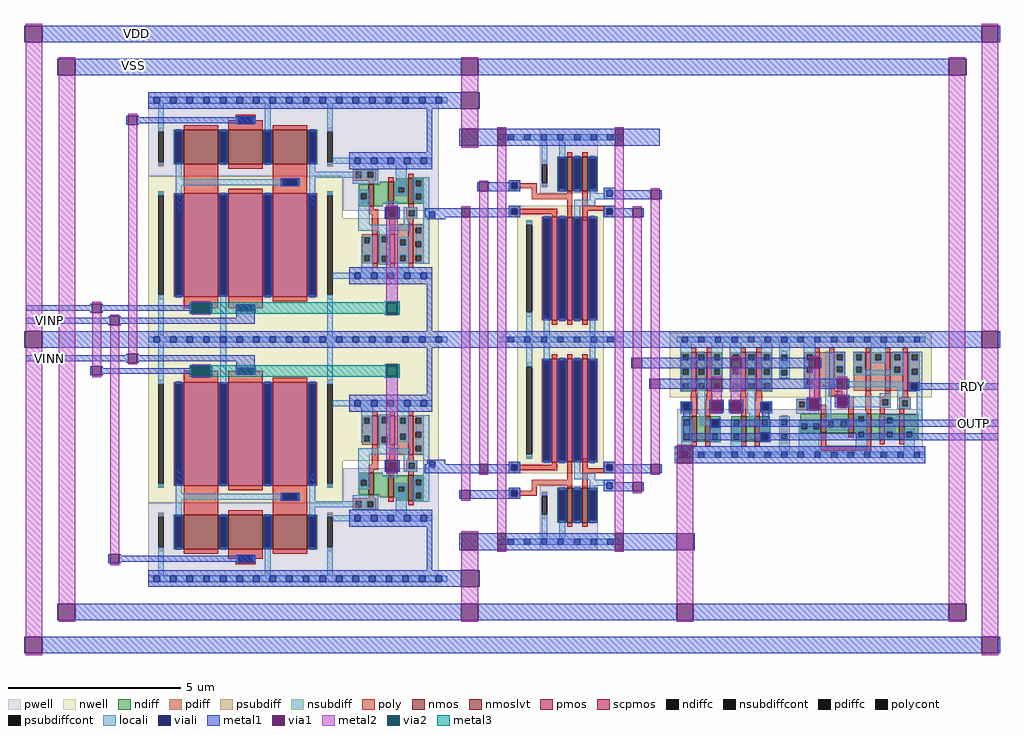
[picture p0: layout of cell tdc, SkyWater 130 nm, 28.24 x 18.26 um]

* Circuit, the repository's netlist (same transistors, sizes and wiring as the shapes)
* NGSPICE file created from tdc.ext - technology: sky130A

.subckt sky130_fd_pr__nfet_01v8_3KLK8B a_n158_n69# a_n100_n124# a_100_n69# VSUBS
X0 a_100_n69# a_n100_n124# a_n158_n69# VSUBS sky130_fd_pr__nfet_01v8 ad=0.29 pd=2.58 as=0.29 ps=2.58 w=1 l=1
.ends

.subckt sky130_fd_pr__pfet_01v8_GLM8QU a_n100_n328# a_100_n264# w_n194_n364# a_n158_n264#
X0 a_100_n264# a_n100_n328# a_n158_n264# w_n194_n364# sky130_fd_pr__pfet_01v8 ad=0.87 pd=6.58 as=0.87 ps=6.58 w=3 l=1
.ends

.subckt sky130_fd_pr__pfet_01v8_JKM84M a_n100_n362# w_n194_n398# a_100_n336# a_n158_n336#
X0 a_100_n336# a_n100_n362# a_n158_n336# w_n194_n398# sky130_fd_pr__pfet_01v8 ad=0.87 pd=6.58 as=0.87 ps=6.58 w=3 l=1
.ends

.subckt sky130_fd_pr__nfet_01v8_WVKZ6V a_100_n100# a_n100_n126# a_n158_n100# VSUBS
X0 a_100_n100# a_n100_n126# a_n158_n100# VSUBS sky130_fd_pr__nfet_01v8 ad=0.29 pd=2.58 as=0.29 ps=2.58 w=1 l=1
.ends

.subckt sky130_fd_sc_hs__and2_1 A B VGND VNB VPB VPWR X
X0 VGND B a_143_136# VNB sky130_fd_pr__nfet_01v8_lvt ad=0.15535 pd=1.17 as=0.1376 ps=1.14 w=0.64 l=0.15
X1 X a_56_136# VGND VNB sky130_fd_pr__nfet_01v8_lvt ad=0.2109 pd=2.05 as=0.15535 ps=1.17 w=0.74 l=0.15
X2 VPWR B a_56_136# VPB sky130_fd_pr__pfet_01v8 ad=0.1988 pd=1.505 as=0.147 ps=1.19 w=0.84 l=0.15
X3 a_143_136# A a_56_136# VNB sky130_fd_pr__nfet_01v8_lvt ad=0.1376 pd=1.14 as=0.1824 ps=1.85 w=0.64 l=0.15
X4 a_56_136# A VPWR VPB sky130_fd_pr__pfet_01v8 ad=0.147 pd=1.19 as=0.252 ps=2.28 w=0.84 l=0.15
X5 X a_56_136# VPWR VPB sky130_fd_pr__pfet_01v8 ad=0.3304 pd=2.83 as=0.1988 ps=1.505 w=1.12 l=0.15
.ends

.subckt delay_gate_ori VDD VSS VINP VINN OUT IN
Xsky130_fd_pr__nfet_01v8_3KLK8B_0 XM5/a_100_n100# VINN VSS VSS sky130_fd_pr__nfet_01v8_3KLK8B
Xsky130_fd_pr__pfet_01v8_GLM8QU_0 a_n155_n58# sky130_fd_sc_hs__and2_1_0/A VDD XM1/a_100_n336#
+ sky130_fd_pr__pfet_01v8_GLM8QU
Xsky130_fd_pr__pfet_01v8_JKM84M_0 IN VDD VDD a_n155_n58# sky130_fd_pr__pfet_01v8_JKM84M
Xsky130_fd_pr__nfet_01v8_WVKZ6V_0 sky130_fd_sc_hs__and2_1_0/A a_n155_n58# VSS VSS
+ sky130_fd_pr__nfet_01v8_WVKZ6V
XXM1 VINP VDD XM1/a_100_n336# VDD sky130_fd_pr__pfet_01v8_JKM84M
XXM5 XM5/a_100_n100# IN a_n155_n58# VSS sky130_fd_pr__nfet_01v8_WVKZ6V
Xsky130_fd_sc_hs__and2_1_0 sky130_fd_sc_hs__and2_1_0/A IN VSS VSS VDD VDD OUT sky130_fd_sc_hs__and2_1
.ends

.subckt sky130_fd_sc_hs__nand2_1 A B VGND VNB VPB VPWR Y
X0 a_117_74# B VGND VNB sky130_fd_pr__nfet_01v8_lvt ad=0.0888 pd=0.98 as=0.2109 ps=2.05 w=0.74 l=0.15
X1 VPWR A Y VPB sky130_fd_pr__pfet_01v8 ad=0.3192 pd=2.81 as=0.168 ps=1.42 w=1.12 l=0.15
X2 Y A a_117_74# VNB sky130_fd_pr__nfet_01v8_lvt ad=0.2109 pd=2.05 as=0.0888 ps=0.98 w=0.74 l=0.15
X3 Y B VPWR VPB sky130_fd_pr__pfet_01v8 ad=0.168 pd=1.42 as=0.3192 ps=2.81 w=1.12 l=0.15
.ends

.subckt sky130_fd_sc_hs__xor2_1 A B VGND VNB VPB VPWR X
X0 X B a_455_87# VNB sky130_fd_pr__nfet_01v8_lvt ad=0.1554 pd=1.16 as=0.0888 ps=0.98 w=0.74 l=0.15
X1 X a_194_125# a_355_368# VPB sky130_fd_pr__pfet_01v8 ad=0.3864 pd=2.93 as=0.196 ps=1.47 w=1.12 l=0.15
X2 a_194_125# B a_158_392# VPB sky130_fd_pr__pfet_01v8 ad=0.295 pd=2.59 as=0.135 ps=1.27 w=1 l=0.15
X3 VPWR A a_355_368# VPB sky130_fd_pr__pfet_01v8 ad=0.2352 pd=1.54 as=0.3752 ps=2.91 w=1.12 l=0.15
X4 a_158_392# A VPWR VPB sky130_fd_pr__pfet_01v8 ad=0.135 pd=1.27 as=0.295 ps=2.59 w=1 l=0.15
X5 a_355_368# B VPWR VPB sky130_fd_pr__pfet_01v8 ad=0.196 pd=1.47 as=0.2352 ps=1.54 w=1.12 l=0.15
X6 a_194_125# A VGND VNB sky130_fd_pr__nfet_01v8_lvt ad=0.17738 pd=1.195 as=0.33275 ps=2.31 w=0.55 l=0.15
X7 a_455_87# A VGND VNB sky130_fd_pr__nfet_01v8_lvt ad=0.0888 pd=0.98 as=0.12607 ps=1.1 w=0.74 l=0.15
X8 VGND B a_194_125# VNB sky130_fd_pr__nfet_01v8_lvt ad=0.12607 pd=1.1 as=0.17738 ps=1.195 w=0.55 l=0.15
X9 VGND a_194_125# X VNB sky130_fd_pr__nfet_01v8_lvt ad=0.2997 pd=2.29 as=0.1554 ps=1.16 w=0.74 l=0.15
.ends

.subckt pd_out A B RDY OUTP OUTN VDD VSS
Xx1 B OUTN VSS VSS VDD VDD OUTP sky130_fd_sc_hs__nand2_1
Xx2 OUTP A VSS VSS VDD VDD OUTN sky130_fd_sc_hs__nand2_1
Xx3 A B VSS VSS VDD VDD RDY sky130_fd_sc_hs__xor2_1
.ends

.subckt sky130_fd_pr__pfet_01v8_5EUKDE a_n73_n300# w_n109_n362# a_15_n300# a_n15_n326#
X0 a_15_n300# a_n15_n326# a_n73_n300# w_n109_n362# sky130_fd_pr__pfet_01v8 ad=0.87 pd=6.58 as=0.87 ps=6.58 w=3 l=0.15
.ends

.subckt sky130_fd_pr__nfet_01v8_QQ7V57 a_n73_n100# a_15_n100# a_n15_n126# VSUBS
X0 a_15_n100# a_n15_n126# a_n73_n100# VSUBS sky130_fd_pr__nfet_01v8 ad=0.29 pd=2.58 as=0.29 ps=2.58 w=1 l=0.15
.ends

.subckt pd_in_half OUT VDD VSS INB IN OUTB
Xsky130_fd_pr__pfet_01v8_5EUKDE_0 OUT VDD VDD OUTB sky130_fd_pr__pfet_01v8_5EUKDE
Xsky130_fd_pr__pfet_01v8_5EUKDE_1 sky130_fd_pr__pfet_01v8_5EUKDE_2/a_15_n300# VDD
+ OUT IN sky130_fd_pr__pfet_01v8_5EUKDE
Xsky130_fd_pr__pfet_01v8_5EUKDE_2 VDD VDD sky130_fd_pr__pfet_01v8_5EUKDE_2/a_15_n300#
+ INB sky130_fd_pr__pfet_01v8_5EUKDE
Xsky130_fd_pr__nfet_01v8_QQ7V57_0 VSS sky130_fd_pr__nfet_01v8_QQ7V57_0/a_15_n100#
+ IN VSS sky130_fd_pr__nfet_01v8_QQ7V57
Xsky130_fd_pr__nfet_01v8_QQ7V57_1 sky130_fd_pr__nfet_01v8_QQ7V57_0/a_15_n100# OUT
+ OUTB VSS sky130_fd_pr__nfet_01v8_QQ7V57
.ends

.subckt pd_in INP INN VDD A B VSS
Xpd_in_half_0 B VDD VSS INP INN A pd_in_half
Xpd_in_half_1 A VDD VSS INN INP B pd_in_half
.ends

.subckt phase_detector INP INN RDY OUTP OUTN VDD VSS
Xpd_out_0 pd_in_0/A pd_in_0/B RDY OUTP OUTN VDD VSS pd_out
Xpd_in_0 INP INN VDD pd_in_0/A pd_in_0/B VSS pd_in
.ends

.subckt tdc VDD VSS VINP VINN RDY OUTP OUTN CLK
Xdelay_gate_ori_0 VDD VSS VINP VINN phase_detector_0/INP CLK delay_gate_ori
Xdelay_gate_ori_1 VDD VSS VINN VINP phase_detector_0/INN CLK delay_gate_ori
Xphase_detector_0 phase_detector_0/INP phase_detector_0/INN RDY OUTP OUTN VDD VSS
+ phase_detector
.ends

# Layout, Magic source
magic
tech sky130A
magscale 1 2
<< metal1 >>
rect -224 2900 -214 2996
rect -118 2900 5318 2996
rect 5414 2900 5424 2996
rect -32 2708 -22 2804
rect 74 2708 2306 2804
rect 2404 2708 5126 2804
rect 5222 2708 5232 2804
rect 2195 2516 2306 2612
rect 2404 2516 2414 2612
rect 368 2423 378 2475
rect 430 2466 440 2475
rect 430 2432 609 2466
rect 430 2423 440 2432
rect 2296 2301 2306 2399
rect 2404 2301 2414 2399
rect 2095 1888 2410 1940
rect 160 1379 170 1388
rect -214 1345 170 1379
rect 160 1336 170 1345
rect 222 1379 232 1388
rect 222 1345 613 1379
rect 222 1336 232 1345
rect 264 1305 274 1314
rect -214 1271 274 1305
rect 264 1262 274 1271
rect 326 1305 336 1314
rect 326 1271 636 1305
rect 326 1262 336 1271
rect -224 1132 -214 1228
rect -118 1132 496 1228
rect 2210 1132 2306 1228
rect 4990 1132 5318 1228
rect 5414 1132 5424 1228
rect 368 1089 378 1098
rect -214 1055 378 1089
rect 368 1046 378 1055
rect 430 1089 440 1098
rect 430 1055 671 1089
rect 430 1046 440 1055
rect 160 972 170 1024
rect 222 1015 232 1024
rect 222 981 624 1015
rect 222 972 232 981
rect 4983 888 5414 928
rect 4984 676 5414 716
rect 4990 597 5414 637
rect 2095 406 2519 458
rect 2296 -39 2306 59
rect 2404 -39 2414 59
rect 264 -115 274 -63
rect 326 -72 336 -63
rect 326 -106 637 -72
rect 326 -115 336 -106
rect 2204 -252 2306 -156
rect 2404 -252 2414 -156
rect -32 -444 -22 -348
rect 74 -444 2306 -348
rect 2404 -444 3552 -348
rect 3648 -444 5126 -348
rect 5222 -444 5232 -348
rect -224 -636 -214 -540
rect -118 -636 5318 -540
rect 5414 -636 5424 -540
<< via1 >>
rect -214 2900 -118 2996
rect 5318 2900 5414 2996
rect -22 2708 74 2804
rect 2306 2708 2404 2804
rect 5126 2708 5222 2804
rect 2306 2516 2404 2612
rect 378 2423 430 2475
rect 2306 2301 2404 2399
rect 170 1336 222 1388
rect 274 1262 326 1314
rect -214 1132 -118 1228
rect 5318 1132 5414 1228
rect 378 1046 430 1098
rect 170 972 222 1024
rect 2306 -39 2404 59
rect 274 -115 326 -63
rect 2306 -252 2404 -156
rect -22 -444 74 -348
rect 2306 -444 2404 -348
rect 3552 -444 3648 -348
rect 5126 -444 5222 -348
rect -214 -636 -118 -540
rect 5318 -636 5414 -540
<< metal2 >>
rect -214 2996 -118 3006
rect -214 1228 -118 2900
rect 5318 2996 5414 3006
rect -214 -540 -118 1132
rect -22 2804 74 2814
rect -22 -348 74 2708
rect 2306 2804 2404 2814
rect 2306 2612 2404 2708
rect 378 2475 430 2485
rect 170 1388 222 1398
rect 170 1024 222 1336
rect 170 962 222 972
rect 274 1314 326 1324
rect 274 -63 326 1262
rect 378 1098 430 2423
rect 2306 2399 2404 2516
rect 2306 2291 2404 2301
rect 5126 2804 5222 2814
rect 378 1036 430 1046
rect 274 -125 326 -115
rect 2306 59 2404 69
rect -22 -454 74 -444
rect 2306 -156 2404 -39
rect 2306 -348 2404 -252
rect 2306 -454 2404 -444
rect 3552 -348 3648 210
rect 3552 -454 3648 -444
rect 5126 -348 5222 2708
rect 5126 -454 5222 -444
rect 5318 1228 5414 2900
rect -214 -646 -118 -636
rect 5318 -540 5414 1132
rect 5318 -646 5414 -636
use delay_gate_ori  delay_gate_ori_0
transform 1 0 1371 0 -1 2130
box -875 -482 853 998
use delay_gate_ori  delay_gate_ori_1
transform 1 0 1371 0 1 230
box -875 -482 853 998
use phase_detector  phase_detector_0
transform 1 0 2324 0 1 -47
box -28 -2 2706 2456
<< labels >>
flabel metal1 412 2934 442 2964 0 FreeSans 400 0 0 0 VDD
port 0 nsew
flabel metal1 392 2748 422 2778 0 FreeSans 400 0 0 0 VSS
port 1 nsew
flabel metal1 -93 1271 -59 1305 0 FreeSans 400 0 0 0 VINP
port 3 nsew
flabel metal1 -92 1055 -58 1089 0 FreeSans 400 0 0 0 VINN
port 4 nsew
flabel metal1 5245 888 5285 928 0 FreeSans 400 0 0 0 RDY
port 5 nsew
flabel metal1 5253 676 5293 716 0 FreeSans 400 0 0 0 OUTP
port 6 nsew
flabel metal1 5249 597 5289 637 0 FreeSans 400 0 0 0 OUTN
port 8 nsew
flabel metal1 -103 1345 -69 1379 0 FreeSans 400 0 0 0 CLK
port 10 nsew
<< end >>

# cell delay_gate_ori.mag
magic
tech sky130A
magscale 1 2
<< nwell >>
rect -875 248 805 998
rect -875 4 249 248
<< pwell >>
rect 249 4 805 206
rect -875 -417 805 4
rect -875 -482 805 -451
<< psubdiff >>
rect -819 -76 -785 -52
rect -819 -276 -785 -252
rect 159 -76 193 -52
rect 159 -276 193 -252
<< nsubdiff >>
rect -819 692 -785 716
rect -819 92 -785 116
rect 159 692 193 716
rect 159 92 193 116
<< psubdiffcont >>
rect -819 -252 -785 -76
rect 159 -252 193 -76
<< nsubdiffcont >>
rect -819 116 -785 692
rect 159 116 193 692
<< poly >>
rect -671 -62 -471 98
rect -155 -58 45 102
<< locali >>
rect -875 933 -844 967
rect -810 933 -748 967
rect -714 933 -652 967
rect -618 933 -556 967
rect -522 933 -460 967
rect -426 933 -364 967
rect -330 933 -268 967
rect -234 933 -172 967
rect -138 933 -76 967
rect -42 933 20 967
rect 54 933 116 967
rect 150 933 212 967
rect 246 933 308 967
rect 342 933 404 967
rect 438 933 500 967
rect 534 933 596 967
rect 630 933 692 967
rect 726 933 788 967
rect 822 933 853 967
rect -819 692 -785 933
rect -459 704 -425 933
rect 159 692 193 933
rect -819 100 -785 116
rect -717 57 -683 207
rect -717 23 -77 57
rect -819 -76 -785 -60
rect -717 -64 -683 23
rect 57 14 91 172
rect 193 565 482 599
rect 159 100 193 116
rect 57 -20 367 14
rect 57 -68 91 -20
rect 159 -67 193 -60
rect -819 -417 -785 -252
rect 159 -76 386 -67
rect 193 -101 386 -76
rect -201 -417 -167 -266
rect 159 -417 193 -252
rect -875 -451 -844 -417
rect -810 -451 -748 -417
rect -714 -451 -652 -417
rect -618 -451 -556 -417
rect -522 -451 -460 -417
rect -426 -451 -364 -417
rect -330 -451 -268 -417
rect -234 -451 -172 -417
rect -138 -451 -76 -417
rect -42 -451 20 -417
rect 54 -451 116 -417
rect 150 -451 212 -417
rect 246 -451 308 -417
rect 342 -451 404 -417
rect 438 -451 500 -417
rect 534 -451 596 -417
rect 630 -451 692 -417
rect 726 -451 788 -417
rect 822 -451 853 -417
<< viali >>
rect -844 933 -810 967
rect -748 933 -714 967
rect -652 933 -618 967
rect -556 933 -522 967
rect -460 933 -426 967
rect -364 933 -330 967
rect -268 933 -234 967
rect -172 933 -138 967
rect -76 933 -42 967
rect 20 933 54 967
rect 116 933 150 967
rect 212 933 246 967
rect 308 933 342 967
rect 404 933 438 967
rect 500 933 534 967
rect 596 933 630 967
rect 692 933 726 967
rect 788 933 822 967
rect 518 202 552 236
rect 750 210 784 244
rect -844 -451 -810 -417
rect -748 -451 -714 -417
rect -652 -451 -618 -417
rect -556 -451 -522 -417
rect -460 -451 -426 -417
rect -364 -451 -330 -417
rect -268 -451 -234 -417
rect -172 -451 -138 -417
rect -76 -451 -42 -417
rect 20 -451 54 -417
rect 116 -451 150 -417
rect 212 -451 246 -417
rect 308 -451 342 -417
rect 404 -451 438 -417
rect 500 -451 534 -417
rect 596 -451 630 -417
rect 692 -451 726 -417
rect 788 -451 822 -417
<< metal1 >>
rect -875 967 853 998
rect -875 933 -844 967
rect -810 933 -748 967
rect -714 933 -652 967
rect -618 933 -556 967
rect -522 933 -460 967
rect -426 933 -364 967
rect -330 933 -268 967
rect -234 933 -172 967
rect -138 933 -76 967
rect -42 933 20 967
rect 54 933 116 967
rect 150 933 212 967
rect 246 933 308 967
rect 342 933 404 967
rect 438 933 500 967
rect 534 933 596 967
rect 630 933 692 967
rect 726 933 788 967
rect 822 933 853 967
rect -875 902 853 933
rect -875 825 -259 859
rect -635 785 -625 794
rect -875 751 -625 785
rect -635 742 -625 751
rect -517 742 -507 794
rect -367 791 -259 825
rect 736 569 767 902
rect 492 186 502 252
rect 568 186 578 252
rect 738 244 842 253
rect 738 210 750 244
rect 784 210 842 244
rect 738 201 842 210
rect -875 -336 -259 -302
rect 735 -386 767 -101
rect -875 -417 853 -386
rect -875 -451 -844 -417
rect -810 -451 -748 -417
rect -714 -451 -652 -417
rect -618 -451 -556 -417
rect -522 -451 -460 -417
rect -426 -451 -364 -417
rect -330 -451 -268 -417
rect -234 -451 -172 -417
rect -138 -451 -76 -417
rect -42 -451 20 -417
rect 54 -451 116 -417
rect 150 -451 212 -417
rect 246 -451 308 -417
rect 342 -451 404 -417
rect 438 -451 500 -417
rect 534 -451 596 -417
rect 630 -451 692 -417
rect 726 -451 788 -417
rect 822 -451 853 -417
rect -875 -482 853 -451
<< via1 >>
rect -625 742 -517 794
rect 502 236 568 252
rect 502 202 518 236
rect 518 202 552 236
rect 552 202 568 236
rect 502 186 568 202
<< metal2 >>
rect -625 796 -517 806
rect -625 730 -517 740
rect 502 801 568 811
rect 502 252 568 735
rect 502 176 568 186
<< via2 >>
rect -625 794 -517 796
rect -625 742 -517 794
rect -625 740 -517 742
rect 502 735 568 801
<< metal3 >>
rect 492 801 578 806
rect -635 796 502 801
rect -635 740 -625 796
rect -517 740 502 796
rect -635 735 502 740
rect 568 735 578 801
rect 492 730 578 735
use sky130_fd_pr__nfet_01v8_3KLK8B  sky130_fd_pr__nfet_01v8_3KLK8B_0
transform 1 0 -313 0 1 -195
box -158 -157 158 157
use sky130_fd_pr__nfet_01v8_WVKZ6V  sky130_fd_pr__nfet_01v8_WVKZ6V_0
transform 1 0 -55 0 1 -164
box -158 -126 158 126
use sky130_fd_pr__pfet_01v8_GLM8QU  sky130_fd_pr__pfet_01v8_GLM8QU_0
transform 1 0 -55 0 1 368
box -194 -364 194 398
use sky130_fd_pr__pfet_01v8_JKM84M  sky130_fd_pr__pfet_01v8_JKM84M_0
transform 1 0 -571 0 1 440
box -194 -398 194 364
use sky130_fd_sc_hs__and2_1  sky130_fd_sc_hs__and2_1_0 $PDKPATH/libs.ref/sky130_fd_sc_hs/mag
transform 1 0 287 0 1 -84
box -38 -49 518 715
use sky130_fd_pr__pfet_01v8_JKM84M  XM1
transform 1 0 -313 0 1 440
box -194 -398 194 364
use sky130_fd_pr__nfet_01v8_WVKZ6V  XM5
transform 1 0 -571 0 1 -164
box -158 -126 158 126
<< labels >>
flabel nwell -813 930 -783 960 0 FreeSans 400 0 0 0 VDD
port 0 nsew
flabel metal1 -831 -452 -801 -422 0 FreeSans 400 0 0 0 VSS
port 1 nsew
flabel metal1 -875 825 -841 859 0 FreeSans 400 0 0 0 VINP
port 2 nsew
flabel metal1 -875 -336 -841 -302 0 FreeSans 400 0 0 0 VINN
port 3 nsew
flabel metal1 784 201 842 253 0 FreeSans 400 0 0 0 OUT
port 5 nsew
flabel metal1 -875 751 -841 785 0 FreeSans 400 0 0 0 IN
port 7 nsew
<< end >>

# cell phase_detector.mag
magic
tech sky130A
magscale 1 2
<< metal1 >>
rect -18 1178 2668 1276
rect 966 1061 976 1121
rect 1028 1061 1260 1121
rect 1070 941 1080 1001
rect 1132 941 1264 1001
rect 2623 935 2706 975
rect 1471 723 2706 763
rect 1759 644 2706 684
rect 1218 512 1228 608
rect 1324 512 1334 608
rect -18 8 1228 106
rect 1324 8 1334 106
<< via1 >>
rect 976 1061 1028 1121
rect 1080 941 1132 1001
rect 1228 512 1324 608
rect 1228 8 1324 106
<< metal2 >>
rect -18 356 34 1935
rect 86 505 138 2084
rect 976 1121 1028 1131
rect 976 1051 1028 1061
rect 1080 1001 1132 1011
rect 1080 931 1132 941
rect 1228 608 1324 618
rect 1228 106 1324 512
rect 1228 -2 1324 8
use pd_in  pd_in_0
transform 1 0 590 0 1 1212
box -618 -1214 552 1244
use pd_out  pd_out_0
transform 1 0 1190 0 1 610
box 0 -98 1516 666
<< labels >>
flabel metal1 401 1208 431 1238 0 FreeSans 400 0 0 0 VDD
port 0 nsew
flabel metal1 392 43 422 73 0 FreeSans 400 0 0 0 VSS
port 1 nsew
flabel metal2 -5 829 25 859 0 FreeSans 400 0 0 0 INP
port 2 nsew
flabel metal2 100 829 130 859 0 FreeSans 400 0 0 0 INN
port 3 nsew
flabel metal1 2672 941 2702 971 0 FreeSans 400 0 0 0 RDY
port 4 nsew
flabel metal1 2669 730 2699 760 0 FreeSans 400 0 0 0 OUTP
port 5 nsew
flabel metal1 2670 648 2700 678 0 FreeSans 400 0 0 0 OUTN
port 6 nsew
<< end >>

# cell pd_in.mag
magic
tech sky130A
magscale 1 2
<< metal1 >>
rect -608 1136 -400 1234
rect -348 1136 282 1234
rect 334 1136 542 1234
rect -514 872 -504 924
rect -452 872 -317 924
rect 283 828 490 880
rect 542 828 552 880
rect -618 723 -608 775
rect -556 723 -317 775
rect 283 723 386 775
rect 438 723 448 775
rect -608 -34 542 64
rect -514 -759 -504 -707
rect -452 -759 -317 -707
rect 283 -759 490 -707
rect 542 -759 552 -707
rect -618 -908 -608 -856
rect -556 -908 -318 -856
rect 283 -864 386 -812
rect 438 -864 448 -812
rect -608 -1204 -400 -1106
rect -348 -1204 282 -1106
rect 334 -1204 542 -1106
<< via1 >>
rect -400 1136 -348 1234
rect 282 1136 334 1234
rect -504 872 -452 924
rect 490 828 542 880
rect -608 723 -556 775
rect 386 723 438 775
rect -504 -759 -452 -707
rect 490 -759 542 -707
rect -608 -908 -556 -856
rect 386 -864 438 -812
rect -400 -1204 -348 -1106
rect 282 -1204 334 -1106
<< metal2 >>
rect -400 1234 -348 1244
rect -504 924 -452 934
rect -608 775 -556 785
rect -608 -856 -556 723
rect -504 -707 -452 872
rect -504 -769 -452 -759
rect -608 -918 -556 -908
rect -400 -1106 -348 1136
rect -400 -1214 -348 -1204
rect 282 1234 334 1244
rect 282 -1106 334 1136
rect 490 880 542 890
rect 386 775 438 785
rect 386 -812 438 723
rect 490 -707 542 828
rect 490 -769 542 -759
rect 386 -874 438 -864
rect 282 -1214 334 -1204
use pd_in_half  pd_in_half_0
transform 1 0 -496 0 -1 793
box 96 -441 830 827
use pd_in_half  pd_in_half_1
transform 1 0 -496 0 1 -763
box 96 -441 830 827
<< labels >>
flabel metal2 -596 -434 -566 -404 0 FreeSans 400 0 0 0 INP
port 0 nsew
flabel metal2 -492 -509 -462 -479 0 FreeSans 400 0 0 0 INN
port 1 nsew
flabel metal1 -2 0 28 30 0 FreeSans 400 0 0 0 VDD
port 2 nsew
flabel metal1 -30 -1169 0 -1139 0 FreeSans 400 0 0 0 VSS
port 3 nsew
flabel metal2 395 409 425 439 0 FreeSans 400 0 0 0 A
port 4 nsew
flabel metal2 498 410 528 440 0 FreeSans 400 0 0 0 B
port 5 nsew
<< end >>

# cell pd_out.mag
magic
tech sky130A
magscale 1 2
<< pwell >>
rect 42 -49 1464 212
<< viali >>
rect 1393 325 1433 365
rect 77 208 117 248
rect 239 201 299 261
rect 353 201 413 261
rect 535 208 575 248
rect 805 214 865 274
rect 967 230 1027 290
rect 241 113 281 153
rect 529 34 569 74
<< metal1 >>
rect 38 568 1478 666
rect 0 451 353 511
rect 413 451 805 511
rect 865 451 875 511
rect 0 331 239 391
rect 299 331 967 391
rect 1027 331 1037 391
rect 1381 365 1445 371
rect 1381 325 1393 365
rect 1433 325 1516 365
rect 1381 319 1445 325
rect 955 290 1039 296
rect 793 274 877 280
rect 227 261 311 267
rect 65 248 129 254
rect 65 208 77 248
rect 117 208 129 248
rect 65 202 129 208
rect 77 74 117 202
rect 227 201 239 261
rect 299 201 311 261
rect 227 195 311 201
rect 341 261 425 267
rect 341 201 353 261
rect 413 201 425 261
rect 523 248 587 254
rect 523 208 535 248
rect 575 208 587 248
rect 793 214 805 274
rect 865 214 877 274
rect 955 230 967 290
rect 1027 230 1039 290
rect 955 224 1039 230
rect 793 208 877 214
rect 523 202 587 208
rect 341 195 425 201
rect 229 153 293 159
rect 535 153 575 202
rect 229 113 241 153
rect 281 113 1516 153
rect 229 107 293 113
rect 517 74 581 80
rect 77 34 529 74
rect 569 34 1516 74
rect 517 28 581 34
rect 38 -98 1478 0
<< via1 >>
rect 353 451 413 511
rect 805 451 865 511
rect 239 331 299 391
rect 967 331 1027 391
rect 239 201 299 261
rect 353 201 413 261
rect 805 214 865 274
rect 967 230 1027 290
<< metal2 >>
rect 353 511 413 521
rect 239 391 299 401
rect 239 261 299 331
rect 239 191 299 201
rect 353 261 413 451
rect 805 511 865 521
rect 805 274 865 451
rect 967 391 1027 401
rect 967 290 1027 331
rect 967 220 1027 230
rect 805 204 865 214
rect 353 191 413 201
use sky130_fd_sc_hs__tapvpwrvgnd_1  sky130_fd_sc_hs__tapvpwrvgnd_1_0 $PDKPATH/libs.ref/sky130_fd_sc_hs/mag
transform 1 0 614 0 1 -49
box -38 -49 134 715
use sky130_fd_sc_hs__nand2_1  x1 $PDKPATH/libs.ref/sky130_fd_sc_hs/mag
transform 1 0 38 0 1 -49
box -38 -49 326 715
use sky130_fd_sc_hs__nand2_1  x2
transform 1 0 326 0 1 -49
box -38 -49 326 715
use sky130_fd_sc_hs__xor2_1  x3 $PDKPATH/libs.ref/sky130_fd_sc_hs/mag
transform 1 0 710 0 1 -49
box -38 -49 806 715
<< labels >>
flabel metal1 0 451 30 511 0 FreeSans 400 0 0 0 A
port 0 nsew
flabel metal1 0 331 30 391 0 FreeSans 400 0 0 0 B
port 1 nsew
flabel metal1 91 568 189 666 0 FreeSans 400 0 0 0 VDD
port 2 nsew
flabel metal1 95 -98 193 0 0 FreeSans 400 0 0 0 VSS
port 3 nsew
flabel metal1 1496 325 1516 365 0 FreeSans 400 0 0 0 RDY
port 4 nsew
flabel metal1 1476 113 1516 153 0 FreeSans 400 0 0 0 OUTP
port 5 nsew
flabel metal1 1476 34 1516 74 0 FreeSans 400 0 0 0 OUTN
port 7 nsew
<< end >>

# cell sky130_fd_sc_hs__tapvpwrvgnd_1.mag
magic
tech sky130A
magscale 1 2
<< nwell >>
rect -38 332 134 704
<< pwell >>
rect 5 38 91 255
<< psubdiff >>
rect 31 205 65 229
rect 31 122 65 171
rect 31 64 65 88
<< nsubdiff >>
rect 31 578 65 602
rect 31 492 65 544
rect 31 434 65 458
<< psubdiffcont >>
rect 31 171 65 205
rect 31 88 65 122
<< nsubdiffcont >>
rect 31 544 65 578
rect 31 458 65 492
<< locali >>
rect 0 649 31 683
rect 65 649 96 683
rect 18 578 78 649
rect 18 544 31 578
rect 65 544 78 578
rect 18 492 78 544
rect 18 458 31 492
rect 65 458 78 492
rect 18 441 78 458
rect 18 205 78 221
rect 18 171 31 205
rect 65 171 78 205
rect 18 122 78 171
rect 18 88 31 122
rect 65 88 78 122
rect 18 17 78 88
rect 0 -17 31 17
rect 65 -17 96 17
<< viali >>
rect 31 649 65 683
rect 31 -17 65 17
<< metal1 >>
rect 0 683 96 715
rect 0 649 31 683
rect 65 649 96 683
rect 0 617 96 649
rect 0 17 96 49
rect 0 -17 31 17
rect 65 -17 96 17
rect 0 -49 96 -17
<< labels >>
rlabel comment s 0 0 0 0 4 tapvpwrvgnd_1
flabel metal1 s 0 617 96 666 0 FreeSans 200 0 0 0 VPWR
port 1 nsew
flabel metal1 s 0 0 96 49 0 FreeSans 200 0 0 0 VGND
port 2 nsew
<< properties >>
string FIXED_BBOX 0 0 96 666
<< end >>

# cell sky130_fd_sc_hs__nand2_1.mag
magic
tech sky130A
magscale 1 2
<< nwell >>
rect -38 332 326 704
<< pwell >>
rect 4 49 278 248
rect 0 0 288 49
<< scpmos >>
rect 84 368 114 592
rect 174 368 204 592
<< nmoslvt >>
rect 87 74 117 222
rect 165 74 195 222
<< ndiff >>
rect 30 202 87 222
rect 30 168 42 202
rect 76 168 87 202
rect 30 120 87 168
rect 30 86 42 120
rect 76 86 87 120
rect 30 74 87 86
rect 117 74 165 222
rect 195 202 252 222
rect 195 168 206 202
rect 240 168 252 202
rect 195 120 252 168
rect 195 86 206 120
rect 240 86 252 120
rect 195 74 252 86
<< pdiff >>
rect 27 580 84 592
rect 27 546 37 580
rect 71 546 84 580
rect 27 497 84 546
rect 27 463 37 497
rect 71 463 84 497
rect 27 414 84 463
rect 27 380 37 414
rect 71 380 84 414
rect 27 368 84 380
rect 114 580 174 592
rect 114 546 127 580
rect 161 546 174 580
rect 114 497 174 546
rect 114 463 127 497
rect 161 463 174 497
rect 114 414 174 463
rect 114 380 127 414
rect 161 380 174 414
rect 114 368 174 380
rect 204 580 261 592
rect 204 546 217 580
rect 251 546 261 580
rect 204 497 261 546
rect 204 463 217 497
rect 251 463 261 497
rect 204 414 261 463
rect 204 380 217 414
rect 251 380 261 414
rect 204 368 261 380
<< ndiffc >>
rect 42 168 76 202
rect 42 86 76 120
rect 206 168 240 202
rect 206 86 240 120
<< pdiffc >>
rect 37 546 71 580
rect 37 463 71 497
rect 37 380 71 414
rect 127 546 161 580
rect 127 463 161 497
rect 127 380 161 414
rect 217 546 251 580
rect 217 463 251 497
rect 217 380 251 414
<< poly >>
rect 84 592 114 618
rect 174 592 204 618
rect 84 353 114 368
rect 174 353 204 368
rect 81 310 117 353
rect 171 310 207 353
rect 21 294 117 310
rect 21 260 37 294
rect 71 260 117 294
rect 21 244 117 260
rect 87 222 117 244
rect 165 294 267 310
rect 165 260 217 294
rect 251 260 267 294
rect 165 244 267 260
rect 165 222 195 244
rect 87 48 117 74
rect 165 48 195 74
<< polycont >>
rect 37 260 71 294
rect 217 260 251 294
<< locali >>
rect 0 649 31 683
rect 65 649 127 683
rect 161 649 223 683
rect 257 649 288 683
rect 21 580 87 649
rect 21 546 37 580
rect 71 546 87 580
rect 21 497 87 546
rect 21 463 37 497
rect 71 463 87 497
rect 21 414 87 463
rect 21 380 37 414
rect 71 380 87 414
rect 21 364 87 380
rect 121 580 167 596
rect 121 546 127 580
rect 161 546 167 580
rect 121 497 167 546
rect 121 463 127 497
rect 161 463 167 497
rect 121 414 167 463
rect 121 380 127 414
rect 161 380 167 414
rect 21 294 87 310
rect 21 260 37 294
rect 71 260 87 294
rect 21 236 87 260
rect 121 236 167 380
rect 201 580 267 649
rect 201 546 217 580
rect 251 546 267 580
rect 201 497 267 546
rect 201 463 217 497
rect 251 463 267 497
rect 201 414 267 463
rect 201 380 217 414
rect 251 380 267 414
rect 201 364 267 380
rect 201 294 267 310
rect 201 260 217 294
rect 251 260 267 294
rect 201 236 267 260
rect 133 202 167 236
rect 26 168 42 202
rect 76 168 92 202
rect 133 168 206 202
rect 240 168 256 202
rect 26 120 92 168
rect 26 86 42 120
rect 76 86 92 120
rect 26 17 92 86
rect 190 120 256 168
rect 190 86 206 120
rect 240 86 256 120
rect 190 70 256 86
rect 0 -17 31 17
rect 65 -17 127 17
rect 161 -17 223 17
rect 257 -17 288 17
<< viali >>
rect 31 649 65 683
rect 127 649 161 683
rect 223 649 257 683
rect 31 -17 65 17
rect 127 -17 161 17
rect 223 -17 257 17
<< metal1 >>
rect 0 683 288 715
rect 0 649 31 683
rect 65 649 127 683
rect 161 649 223 683
rect 257 649 288 683
rect 0 617 288 649
rect 0 17 288 49
rect 0 -17 31 17
rect 65 -17 127 17
rect 161 -17 223 17
rect 257 -17 288 17
rect 0 -49 288 -17
<< labels >>
rlabel comment s 0 0 0 0 4 nand2_1
flabel pwell s 0 0 288 49 0 FreeSans 200 0 0 0 VNB
port 1 nsew
flabel nwell s 0 617 288 666 0 FreeSans 200 0 0 0 VPB
port 2 nsew
flabel metal1 s 0 617 288 666 0 FreeSans 340 0 0 0 VPWR
port 3 nsew
flabel metal1 s 0 0 288 49 0 FreeSans 340 0 0 0 VGND
port 4 nsew
flabel locali s 31 242 65 276 0 FreeSans 340 0 0 0 B
port 6 nsew
flabel locali s 127 242 161 276 0 FreeSans 340 0 0 0 Y
port 7 nsew
flabel locali s 127 316 161 350 0 FreeSans 340 0 0 0 Y
port 7 nsew
flabel locali s 127 390 161 424 0 FreeSans 340 0 0 0 Y
port 7 nsew
flabel locali s 127 464 161 498 0 FreeSans 340 0 0 0 Y
port 7 nsew
flabel locali s 127 538 161 572 0 FreeSans 340 0 0 0 Y
port 7 nsew
flabel locali s 223 242 257 276 0 FreeSans 340 0 0 0 A
port 8 nsew
<< properties >>
string FIXED_BBOX 0 0 288 666
<< end >>

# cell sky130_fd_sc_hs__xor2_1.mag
magic
tech sky130A
magscale 1 2
<< nwell >>
rect -38 332 806 704
<< pwell >>
rect 17 49 754 261
rect 0 0 768 49
<< scpmos >>
rect 128 392 158 592
rect 212 392 242 592
rect 422 368 452 592
rect 536 368 566 592
rect 636 368 666 592
<< nmoslvt >>
rect 164 125 194 235
rect 323 125 353 235
rect 425 87 455 235
rect 503 87 533 235
rect 617 87 647 235
<< ndiff >>
rect 43 182 164 235
rect 43 148 51 182
rect 85 148 119 182
rect 153 148 164 182
rect 43 125 164 148
rect 194 192 323 235
rect 194 158 205 192
rect 239 158 278 192
rect 312 158 323 192
rect 194 125 323 158
rect 353 223 425 235
rect 353 189 380 223
rect 414 189 425 223
rect 353 133 425 189
rect 353 125 380 133
rect 368 99 380 125
rect 414 99 425 133
rect 368 87 425 99
rect 455 87 503 235
rect 533 214 617 235
rect 533 180 544 214
rect 578 180 617 214
rect 533 133 617 180
rect 533 99 544 133
rect 578 99 617 133
rect 533 87 617 99
rect 647 133 728 235
rect 647 99 658 133
rect 692 99 728 133
rect 647 87 728 99
<< pdiff >>
rect 69 580 128 592
rect 69 546 81 580
rect 115 546 128 580
rect 69 509 128 546
rect 69 475 81 509
rect 115 475 128 509
rect 69 438 128 475
rect 69 404 81 438
rect 115 404 128 438
rect 69 392 128 404
rect 158 392 212 592
rect 242 580 301 592
rect 242 546 255 580
rect 289 546 301 580
rect 242 510 301 546
rect 242 476 255 510
rect 289 476 301 510
rect 242 440 301 476
rect 242 406 255 440
rect 289 406 301 440
rect 242 392 301 406
rect 355 580 422 592
rect 355 546 367 580
rect 401 546 422 580
rect 355 508 422 546
rect 355 474 367 508
rect 401 474 422 508
rect 355 368 422 474
rect 452 580 536 592
rect 452 546 478 580
rect 512 546 536 580
rect 452 368 536 546
rect 566 580 636 592
rect 566 546 589 580
rect 623 546 636 580
rect 566 508 636 546
rect 566 474 589 508
rect 623 474 636 508
rect 566 368 636 474
rect 666 580 735 592
rect 666 546 689 580
rect 723 546 735 580
rect 666 497 735 546
rect 666 463 689 497
rect 723 463 735 497
rect 666 414 735 463
rect 666 380 689 414
rect 723 380 735 414
rect 666 368 735 380
<< ndiffc >>
rect 51 148 85 182
rect 119 148 153 182
rect 205 158 239 192
rect 278 158 312 192
rect 380 189 414 223
rect 380 99 414 133
rect 544 180 578 214
rect 544 99 578 133
rect 658 99 692 133
<< pdiffc >>
rect 81 546 115 580
rect 81 475 115 509
rect 81 404 115 438
rect 255 546 289 580
rect 255 476 289 510
rect 255 406 289 440
rect 367 546 401 580
rect 367 474 401 508
rect 478 546 512 580
rect 589 546 623 580
rect 589 474 623 508
rect 689 546 723 580
rect 689 463 723 497
rect 689 380 723 414
<< poly >>
rect 128 592 158 618
rect 212 592 242 618
rect 422 592 452 618
rect 536 592 566 618
rect 636 592 666 618
rect 128 377 158 392
rect 212 377 242 392
rect 125 335 161 377
rect 209 369 245 377
rect 209 339 287 369
rect 422 353 452 368
rect 536 353 566 368
rect 636 353 666 368
rect 125 323 155 335
rect 21 307 155 323
rect 21 273 37 307
rect 71 273 105 307
rect 139 287 155 307
rect 257 323 353 339
rect 257 289 273 323
rect 307 289 353 323
rect 139 273 194 287
rect 257 273 353 289
rect 21 257 194 273
rect 164 235 194 257
rect 323 235 353 273
rect 419 250 455 353
rect 533 336 569 353
rect 425 235 455 250
rect 503 320 569 336
rect 633 330 669 353
rect 503 286 519 320
rect 553 286 569 320
rect 503 270 569 286
rect 617 314 683 330
rect 617 280 633 314
rect 667 280 683 314
rect 503 235 533 270
rect 617 264 683 280
rect 617 235 647 264
rect 164 51 194 125
rect 323 99 353 125
rect 425 51 455 87
rect 503 61 533 87
rect 617 61 647 87
rect 164 21 455 51
<< polycont >>
rect 37 273 71 307
rect 105 273 139 307
rect 273 289 307 323
rect 519 286 553 320
rect 633 280 667 314
<< locali >>
rect 0 649 31 683
rect 65 649 127 683
rect 161 649 223 683
rect 257 649 319 683
rect 353 649 415 683
rect 449 649 511 683
rect 545 649 607 683
rect 641 649 703 683
rect 737 649 768 683
rect 65 580 131 649
rect 65 546 81 580
rect 115 546 131 580
rect 65 509 131 546
rect 65 475 81 509
rect 115 475 131 509
rect 65 438 131 475
rect 65 404 81 438
rect 115 404 131 438
rect 65 388 131 404
rect 189 580 305 596
rect 189 546 255 580
rect 289 546 305 580
rect 189 510 305 546
rect 189 476 255 510
rect 289 476 305 510
rect 189 440 305 476
rect 351 580 417 596
rect 351 546 367 580
rect 401 546 417 580
rect 351 508 417 546
rect 451 580 539 649
rect 451 546 478 580
rect 512 546 539 580
rect 451 530 539 546
rect 573 580 639 596
rect 573 546 589 580
rect 623 546 639 580
rect 351 474 367 508
rect 401 492 417 508
rect 573 508 639 546
rect 573 492 589 508
rect 401 474 589 492
rect 623 474 639 508
rect 351 458 639 474
rect 673 580 751 596
rect 673 546 689 580
rect 723 546 751 580
rect 673 497 751 546
rect 673 463 689 497
rect 723 463 751 497
rect 189 406 255 440
rect 289 424 305 440
rect 289 406 639 424
rect 189 390 639 406
rect 21 307 155 323
rect 21 273 37 307
rect 71 273 105 307
rect 139 273 155 307
rect 21 236 155 273
rect 189 208 223 390
rect 503 339 569 356
rect 257 323 569 339
rect 257 289 273 323
rect 307 320 569 323
rect 307 289 519 320
rect 257 286 519 289
rect 553 286 569 320
rect 257 273 569 286
rect 503 270 569 273
rect 605 330 639 390
rect 673 414 751 463
rect 673 380 689 414
rect 723 380 751 414
rect 673 364 751 380
rect 605 314 683 330
rect 605 280 633 314
rect 667 280 683 314
rect 605 264 683 280
rect 364 223 430 239
rect 717 230 751 364
rect 35 182 155 198
rect 35 148 51 182
rect 85 148 119 182
rect 153 148 155 182
rect 35 17 155 148
rect 189 192 328 208
rect 189 158 205 192
rect 239 158 278 192
rect 312 158 328 192
rect 189 142 328 158
rect 364 189 380 223
rect 414 189 430 223
rect 364 133 430 189
rect 364 99 380 133
rect 414 99 430 133
rect 364 17 430 99
rect 505 214 751 230
rect 505 180 544 214
rect 578 196 751 214
rect 578 180 594 196
rect 505 133 594 180
rect 505 99 544 133
rect 578 99 594 133
rect 505 83 594 99
rect 642 133 708 149
rect 642 99 658 133
rect 692 99 708 133
rect 642 17 708 99
rect 0 -17 31 17
rect 65 -17 127 17
rect 161 -17 223 17
rect 257 -17 319 17
rect 353 -17 415 17
rect 449 -17 511 17
rect 545 -17 607 17
rect 641 -17 703 17
rect 737 -17 768 17
<< viali >>
rect 31 649 65 683
rect 127 649 161 683
rect 223 649 257 683
rect 319 649 353 683
rect 415 649 449 683
rect 511 649 545 683
rect 607 649 641 683
rect 703 649 737 683
rect 31 -17 65 17
rect 127 -17 161 17
rect 223 -17 257 17
rect 319 -17 353 17
rect 415 -17 449 17
rect 511 -17 545 17
rect 607 -17 641 17
rect 703 -17 737 17
<< metal1 >>
rect 0 683 768 715
rect 0 649 31 683
rect 65 649 127 683
rect 161 649 223 683
rect 257 649 319 683
rect 353 649 415 683
rect 449 649 511 683
rect 545 649 607 683
rect 641 649 703 683
rect 737 649 768 683
rect 0 617 768 649
rect 0 17 768 49
rect 0 -17 31 17
rect 65 -17 127 17
rect 161 -17 223 17
rect 257 -17 319 17
rect 353 -17 415 17
rect 449 -17 511 17
rect 545 -17 607 17
rect 641 -17 703 17
rect 737 -17 768 17
rect 0 -49 768 -17
<< labels >>
rlabel comment s 0 0 0 0 4 xor2_1
flabel pwell s 0 0 768 49 0 FreeSans 200 0 0 0 VNB
port 1 nsew
flabel nwell s 0 617 768 666 0 FreeSans 200 0 0 0 VPB
port 2 nsew
flabel metal1 s 0 617 768 666 0 FreeSans 340 0 0 0 VPWR
port 3 nsew
flabel metal1 s 0 0 768 49 0 FreeSans 340 0 0 0 VGND
port 4 nsew
flabel locali s 31 242 65 276 0 FreeSans 340 0 0 0 A
port 6 nsew
flabel locali s 511 316 545 350 0 FreeSans 340 0 0 0 B
port 7 nsew
flabel locali s 511 94 545 128 0 FreeSans 340 0 0 0 X
port 8 nsew
flabel locali s 511 168 545 202 0 FreeSans 340 0 0 0 X
port 8 nsew
<< properties >>
string FIXED_BBOX 0 0 768 666
<< end >>

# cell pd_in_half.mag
magic
tech sky130A
magscale 1 2
<< nwell >>
rect 213 707 713 827
rect 213 5 319 707
<< pwell >>
rect 344 -441 677 -69
<< psubdiff >>
rect 353 -127 387 -103
rect 353 -259 387 -235
<< nsubdiff >>
rect 265 621 299 645
rect 265 89 299 113
<< psubdiffcont >>
rect 353 -235 387 -127
<< nsubdiffcont >>
rect 265 113 299 621
<< poly >>
rect 163 54 229 70
rect 163 20 179 54
rect 213 52 229 54
rect 413 52 443 58
rect 213 22 443 52
rect 213 20 229 22
rect 163 4 229 20
rect 501 -34 531 76
rect 295 -64 531 -34
rect 589 34 619 90
rect 713 54 779 70
rect 713 34 729 54
rect 589 20 729 34
rect 763 20 779 54
rect 589 4 779 20
rect 589 -55 619 4
rect 163 -95 229 -79
rect 163 -129 179 -95
rect 213 -97 229 -95
rect 295 -97 325 -64
rect 501 -77 531 -64
rect 213 -127 325 -97
rect 213 -129 229 -127
rect 163 -145 229 -129
<< polycont >>
rect 179 20 213 54
rect 729 20 763 54
rect 179 -129 213 -95
<< locali >>
rect 96 761 158 795
rect 192 761 254 795
rect 288 761 350 795
rect 384 761 446 795
rect 480 761 542 795
rect 576 761 638 795
rect 672 761 734 795
rect 768 761 830 795
rect 265 621 299 761
rect 367 636 401 761
rect 631 671 665 761
rect 265 97 299 113
rect 163 54 229 70
rect 163 20 179 54
rect 213 20 229 54
rect 163 4 229 20
rect 543 4 577 67
rect 713 54 779 70
rect 713 20 729 54
rect 763 20 779 54
rect 713 4 779 20
rect 543 -30 665 4
rect 631 -35 665 -30
rect 631 -51 779 -35
rect 631 -69 729 -51
rect 163 -95 229 -79
rect 631 -81 665 -69
rect 163 -129 179 -95
rect 213 -129 229 -95
rect 713 -85 729 -69
rect 763 -85 779 -51
rect 713 -101 779 -85
rect 163 -145 229 -129
rect 353 -127 387 -111
rect 353 -375 387 -235
rect 455 -375 489 -285
rect 96 -409 158 -375
rect 192 -409 254 -375
rect 288 -409 350 -375
rect 384 -409 446 -375
rect 480 -409 542 -375
rect 576 -409 638 -375
rect 672 -409 734 -375
rect 768 -409 830 -375
<< viali >>
rect 158 761 192 795
rect 254 761 288 795
rect 350 761 384 795
rect 446 761 480 795
rect 542 761 576 795
rect 638 761 672 795
rect 734 761 768 795
rect 179 20 213 54
rect 729 20 763 54
rect 179 -129 213 -95
rect 729 -85 763 -51
rect 158 -409 192 -375
rect 254 -409 288 -375
rect 350 -409 384 -375
rect 446 -409 480 -375
rect 542 -409 576 -375
rect 638 -409 672 -375
rect 734 -409 768 -375
<< metal1 >>
rect 96 795 830 827
rect 96 761 158 795
rect 192 761 254 795
rect 288 761 350 795
rect 384 761 446 795
rect 480 761 542 795
rect 576 761 638 795
rect 672 761 734 795
rect 768 761 830 795
rect 96 729 830 761
rect 163 54 229 70
rect 163 20 179 54
rect 213 20 229 54
rect 163 4 229 20
rect 713 54 779 70
rect 713 20 729 54
rect 763 20 779 54
rect 713 4 779 20
rect 713 -51 779 -35
rect 163 -95 229 -79
rect 163 -129 179 -95
rect 213 -129 229 -95
rect 713 -85 729 -51
rect 763 -85 779 -51
rect 713 -101 779 -85
rect 163 -145 229 -129
rect 96 -375 830 -343
rect 96 -409 158 -375
rect 192 -409 254 -375
rect 288 -409 350 -375
rect 384 -409 446 -375
rect 480 -409 542 -375
rect 576 -409 638 -375
rect 672 -409 734 -375
rect 768 -409 830 -375
rect 96 -441 830 -409
use sky130_fd_pr__nfet_01v8_QQ7V57  sky130_fd_pr__nfet_01v8_QQ7V57_0
transform 1 0 516 0 1 -181
box -73 -126 73 126
use sky130_fd_pr__nfet_01v8_QQ7V57  sky130_fd_pr__nfet_01v8_QQ7V57_1
transform 1 0 604 0 1 -181
box -73 -126 73 126
use sky130_fd_pr__pfet_01v8_5EUKDE  sky130_fd_pr__pfet_01v8_5EUKDE_0
transform 1 0 604 0 1 367
box -109 -362 109 362
use sky130_fd_pr__pfet_01v8_5EUKDE  sky130_fd_pr__pfet_01v8_5EUKDE_1
transform 1 0 516 0 1 367
box -109 -362 109 362
use sky130_fd_pr__pfet_01v8_5EUKDE  sky130_fd_pr__pfet_01v8_5EUKDE_2
transform 1 0 428 0 1 367
box -109 -362 109 362
<< labels >>
flabel metal1 96 729 158 827 0 FreeSans 400 0 0 0 VDD
port 4 nsew
flabel metal1 96 -441 158 -343 0 FreeSans 400 0 0 0 VSS
port 5 nsew
flabel metal1 179 20 213 54 0 FreeSans 400 0 0 0 INB
port 8 nsew
flabel metal1 179 -129 213 -95 0 FreeSans 400 0 0 0 IN
port 9 nsew
flabel metal1 729 20 763 54 0 FreeSans 400 0 0 0 OUTB
port 10 nsew
flabel viali 729 -85 763 -51 0 FreeSans 400 0 0 0 OUT
port 3 nsew
<< end >>

# cell sky130_fd_pr__nfet_01v8_QQ7V57: kit device sky130_fd_pr__nfet_01v8, w 1 l 0.150 m 1 nf 1 diffcov 100 polycov 100 guard 0 glc 0 grc 0 gtc 0 gbc 0 tbcov 100 rlcov 100 topc 0 botc 0 poverlap 0 doverlap 1 lmin 0.15 wmin 0.42 compatible {sky130_fd_pr__nfet_01v8 sky130_fd_pr__nfet_01v8_lvt sky130_fd_bs_flash__special_sonosfet_star sky130_fd_pr__nfet_g5v0d10v5 sky130_fd_pr__nfet_05v0_nvt sky130_fd_pr__nfet_03v3_nvt} full_metal 0 viasrc 100 viadrn 100 viagate 100 viagb 0 viagr 0 viagl 0 viagt 0

# cell sky130_fd_pr__pfet_01v8_5EUKDE: kit device sky130_fd_pr__pfet_01v8, w 3 l 0.15 m 1 nf 1 diffcov 100 polycov 100 guard 0 glc 0 grc 0 gtc 0 gbc 0 tbcov 100 rlcov 100 topc 0 botc 0 poverlap 0 doverlap 1 lmin 0.15 wmin 0.42 compatible {sky130_fd_pr__pfet_01v8 sky130_fd_pr__pfet_01v8_lvt sky130_fd_pr__pfet_01v8_hvt sky130_fd_pr__pfet_g5v0d10v5} full_metal 0 viasrc 100 viadrn 100 viagate 100 viagb 0 viagr 0 viagl 0 viagt 0

# cell sky130_fd_pr__nfet_01v8_3KLK8B: kit device sky130_fd_pr__nfet_01v8, w 1.0 l 1.0 m 1 nf 1 diffcov 100 polycov 50 guard 0 glc 0 grc 0 gtc 0 gbc 0 tbcov 100 rlcov 100 topc 0 botc 1 poverlap 0 doverlap 1 lmin 0.15 wmin 0.42 compatible {sky130_fd_pr__nfet_01v8 sky130_fd_pr__nfet_01v8_lvt sky130_fd_bs_flash__special_sonosfet_star sky130_fd_pr__nfet_g5v0d10v5 sky130_fd_pr__nfet_05v0_nvt sky130_fd_pr__nfet_03v3_nvt} full_metal 0 viasrc 100 viadrn 100 viagate 50 viagb 0 viagr 0 viagl 0 viagt 0

# cell sky130_fd_pr__nfet_01v8_WVKZ6V: kit device sky130_fd_pr__nfet_01v8, w 1.0 l 1.0 m 1 nf 1 diffcov 100 polycov 100 guard 0 glc 0 grc 0 gtc 0 gbc 0 tbcov 100 rlcov 100 topc 0 botc 0 poverlap 0 doverlap 1 lmin 0.15 wmin 0.42 compatible {sky130_fd_pr__nfet_01v8 sky130_fd_pr__nfet_01v8_lvt sky130_fd_bs_flash__special_sonosfet_star sky130_fd_pr__nfet_g5v0d10v5 sky130_fd_pr__nfet_05v0_nvt sky130_fd_pr__nfet_03v3_nvt} full_metal 0 viasrc 100 viadrn 100 viagate 100 viagb 0 viagr 0 viagl 0 viagt 0

# cell sky130_fd_pr__pfet_01v8_GLM8QU: kit device sky130_fd_pr__pfet_01v8, w 3.0 l 1.0 m 1 nf 1 diffcov 100 polycov 50 guard 0 glc 0 grc 0 gtc 0 gbc 0 tbcov 100 rlcov 100 topc 0 botc 1 poverlap 0 doverlap 1 lmin 0.15 wmin 0.42 compatible {sky130_fd_pr__pfet_01v8 sky130_fd_pr__pfet_01v8_lvt sky130_fd_pr__pfet_01v8_hvt sky130_fd_pr__pfet_g5v0d10v5} full_metal 0 viasrc 100 viadrn 100 viagate 50 viagb 0 viagr 0 viagl 0 viagt 0

# cell sky130_fd_pr__pfet_01v8_JKM84M: kit device sky130_fd_pr__pfet_01v8, w 3.0 l 1.0 m 1 nf 1 diffcov 100 polycov 50 guard 0 glc 0 grc 0 gtc 0 gbc 0 tbcov 100 rlcov 100 topc 1 botc 0 poverlap 0 doverlap 1 lmin 0.15 wmin 0.42 compatible {sky130_fd_pr__pfet_01v8 sky130_fd_pr__pfet_01v8_lvt sky130_fd_pr__pfet_01v8_hvt sky130_fd_pr__pfet_g5v0d10v5} full_metal 0 viasrc 100 viadrn 100 viagate 50 viagb 0 viagr 0 viagl 0 viagt 0

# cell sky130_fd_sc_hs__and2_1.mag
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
